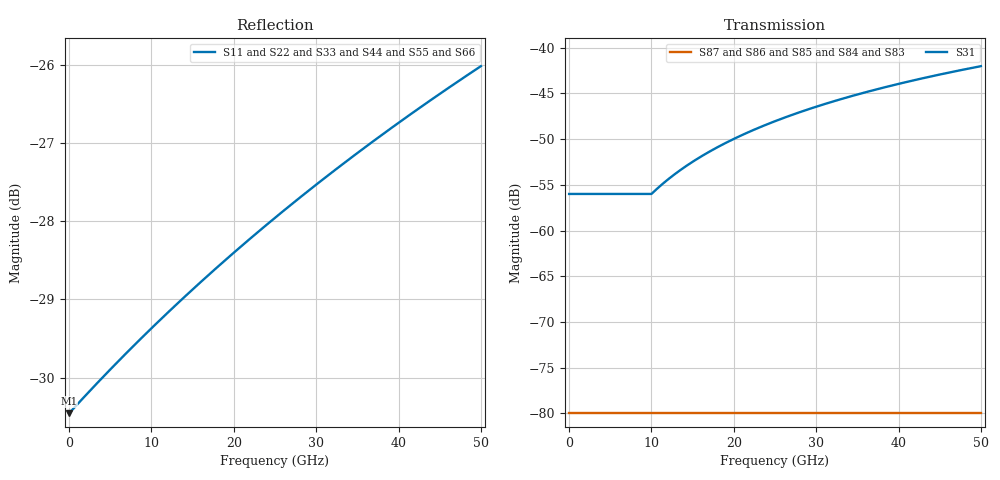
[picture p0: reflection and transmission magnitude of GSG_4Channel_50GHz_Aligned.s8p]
! 8-Port Touchstone File - Full 50 GHz Spectrum
! Configuration: Pitch=0.5mm, ActiveMMIC_50G=True
# Hz S MA R 50.0
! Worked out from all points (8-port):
!   501 points, 100 kHz to 50 GHz, reference 50 ohm
!   strongest paths, dB at 100 kHz, 12.5 GHz, 25 GHz, 37.5 GHz, 50 GHz:
!     S31: -56.0, -54.1, -48.0, -44.5, -42.0
!     S87: -80.0, -80.0, -80.0, -80.0, -80.0
!     S86: -80.0, -80.0, -80.0, -80.0, -80.0
!     S85: -80.0, -80.0, -80.0, -80.0, -80.0
!     S84: -80.0, -80.0, -80.0, -80.0, -80.0
!     S83: -80.0, -80.0, -80.0, -80.0, -80.0
!   lowest |S11| = -30.5 dB at 100 kHz (marker M1), VSWR 1.06, Z = 53.1 + j0 ohm
!   |S11| at or under -10 dB: start of sweep to end of sweep
